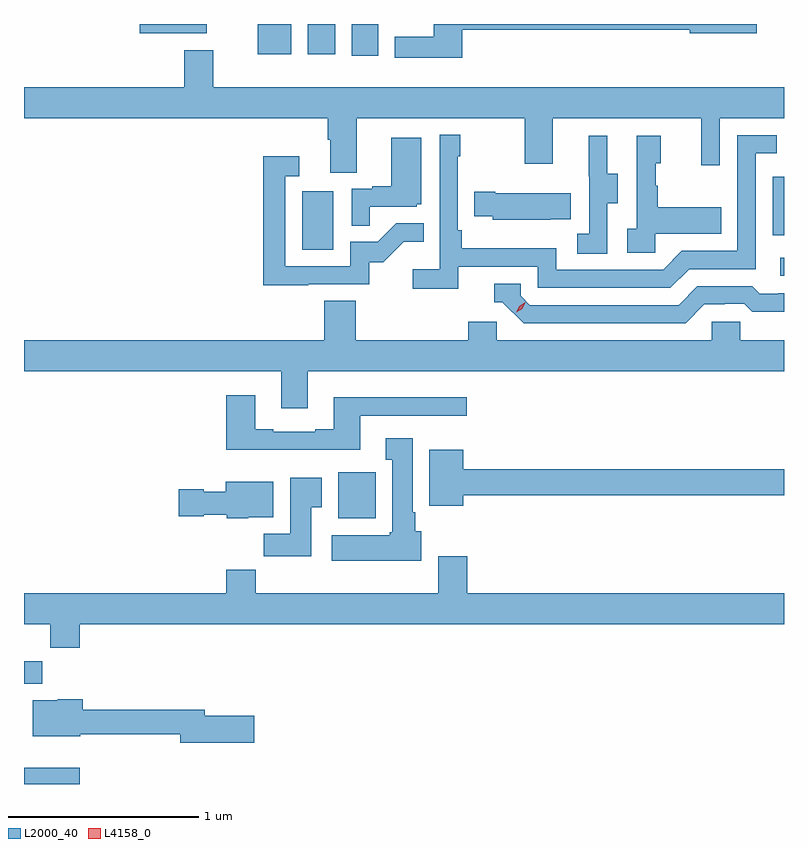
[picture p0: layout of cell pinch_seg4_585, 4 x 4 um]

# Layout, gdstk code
import gdstk
lib = gdstk.Library(unit=1e-6, precision=1e-09)
def R(c, l, rs):  # rectangles x0, y0, x1, y1
    for r in rs: c.add(gdstk.rectangle(r[:2], r[2:], *l))
def P(c, l, *ps):  # polygons
    for p in ps: c.add(gdstk.Polygon(p, *l))
L2000_40 = (2000, 40)
L4158_0 = (4158, 0)

pinch_seg4_585 = lib.new_cell('pinch_seg4_585')
R(pinch_seg4_585, L2000_40, [(1033.874,768.008,1034.168,768.094), (1033.874,768.536,1033.97,768.655), (1035.527,769.406,1035.724,769.648), (1037.853,770.682,1037.874,770.778), (1035.338,770.82,1035.502,771.127), (1037.814,770.895,1037.874,771.204), (1035.599,771.84,1035.739,772.008), (1035.104,771.848,1035.28,772.008), (1035.368,771.848,1035.511,772.008), (1034.484,771.959,1034.836,772.008)])
P(pinch_seg4_585, L2000_40, [(1036.18,771.978),(1037.378,771.978),(1037.378,771.959),(1037.731,771.959),(1037.731,772.008),(1036.03,772.008),(1036.03,771.94),(1035.825,771.94),(1035.825,771.83),(1036.18,771.83)],
  [(1035.625,771.512),(1036.51,771.512),(1036.51,771.273),(1036.657,771.273),(1036.657,771.512),(1037.438,771.512),(1037.438,771.264),(1037.535,771.264),(1037.535,771.512),(1037.874,771.512),(1037.874,771.676),(1034.869,771.676),(1034.869,771.871),(1034.717,771.871),(1034.717,771.676),(1033.874,771.676),(1033.874,771.512),(1035.473,771.512),(1035.473,771.4),(1035.485,771.4),(1035.485,771.226),(1035.625,771.226)],
  [(1036.16,770.73),(1036.578,770.73),(1036.578,770.619),(1037.275,770.619),(1037.374,770.718),(1037.724,770.718),(1037.724,771.327),(1037.837,771.327),(1037.837,771.423),(1037.628,771.423),(1037.628,770.814),(1037.337,770.814),(1037.238,770.715),(1036.674,770.715),(1036.674,770.827),(1036.178,770.827),(1036.178,770.923),(1036.158,770.923),(1036.158,771.311),(1036.171,771.311),(1036.171,771.424),(1036.062,771.424),(1036.062,770.716),(1035.921,770.716),(1035.921,770.614),(1036.16,770.614)],
  [(1037.196,770.903),(1037.543,770.903),(1037.543,771.043),(1037.209,771.043),(1037.209,771.158),(1037.199,771.158),(1037.199,771.276),(1037.224,771.276),(1037.224,771.421),(1037.1,771.421),(1037.1,770.93),(1037.049,770.93),(1037.049,770.805),(1037.196,770.805)],
  [(1036.944,771.064),(1036.999,771.064),(1036.999,771.219),(1036.945,771.219),(1036.945,771.421),(1036.847,771.421),(1036.847,771.207),(1036.848,771.207),(1036.848,770.903),(1036.785,770.903),(1036.785,770.8),(1036.944,770.8)],
  [(1035.695,771.045),(1035.942,771.045),(1035.942,771.06),(1035.964,771.06),(1035.964,771.409),(1035.806,771.409),(1035.806,771.154),(1035.707,771.154),(1035.707,771.141),(1035.6,771.141),(1035.6,770.947),(1035.695,770.947)],
  [(1035.371,770.637),(1035.69,770.637),(1035.69,770.754),(1035.766,770.754),(1035.873,770.861),(1035.977,770.861),(1035.977,770.96),(1035.833,770.96),(1035.735,770.862),(1035.591,770.862),(1035.591,770.733),(1035.249,770.733),(1035.249,771.207),(1035.322,771.207),(1035.322,771.313),(1035.133,771.313),(1035.133,770.632),(1035.371,770.632)],
  [(1036.643,770.981),(1036.751,770.981),(1036.751,771.118),(1036.354,771.118),(1036.354,771.126),(1036.243,771.126),(1036.243,770.996),(1036.341,770.996),(1036.341,770.978),(1036.643,770.978)],
  [(1037.455,770.532),(1037.562,770.532),(1037.562,770.535),(1037.665,770.535),(1037.707,770.493),(1037.874,770.493),(1037.874,770.592),(1037.845,770.592),(1037.845,770.589),(1037.746,770.589),(1037.707,770.628),(1037.418,770.628),(1037.319,770.529),(1036.536,770.529),(1036.488,770.577),(1036.488,770.64),(1036.349,770.64),(1036.349,770.544),(1036.392,770.544),(1036.503,770.433),(1037.356,770.433)],
  [(1035.367,770.18),(1037.874,770.18),(1037.874,770.344),(1037.643,770.344),(1037.643,770.442),(1037.493,770.442),(1037.493,770.344),(1036.362,770.344),(1036.362,770.442),(1036.211,770.442),(1036.211,770.344),(1035.62,770.344),(1035.62,770.552),(1035.455,770.552),(1035.455,770.344),(1033.874,770.344),(1033.874,770.18),(1035.227,770.18),(1035.227,769.986),(1035.367,769.986)],
  [(1035.643,769.947),(1036.204,769.947),(1036.204,770.044),(1035.503,770.044),(1035.503,769.876),(1035.407,769.876),(1035.407,769.863),(1035.187,769.863),(1035.187,769.876),(1035.091,769.876),(1035.091,770.053),(1034.939,770.053),(1034.939,769.766),(1035.643,769.766)],
  [(1035.964,769.338),(1035.934,769.338),(1035.934,769.438),(1035.919,769.438),(1035.919,769.828),(1035.779,769.828),(1035.779,769.715),(1035.812,769.715),(1035.812,769.332),(1035.799,769.332),(1035.799,769.318),(1035.495,769.318),(1035.495,769.184),(1035.964,769.184)],
  [(1036.186,769.528),(1037.874,769.528),(1037.874,769.664),(1036.186,769.664),(1036.186,769.768),(1036.007,769.768),(1036.007,769.472),(1036.186,769.472)],
  [(1035.385,769.465),(1035.442,769.465),(1035.442,769.621),(1035.275,769.621),(1035.275,769.324),(1035.136,769.324),(1035.136,769.206),(1035.385,769.206)],
  [(1035.054,769.412),(1035.187,769.412),(1035.187,769.6),(1034.936,769.6),(1034.936,769.546),(1034.82,769.546),(1034.82,769.559),(1034.688,769.559),(1034.688,769.417),(1034.82,769.417),(1034.82,769.424),(1034.94,769.424),(1034.94,769.406),(1035.054,769.406)],
  [(1034.168,768.848),(1037.874,768.848),(1037.874,769.012),(1036.208,769.012),(1036.208,769.207),(1036.055,769.207),(1036.055,769.012),(1035.095,769.012),(1035.095,769.136),(1034.939,769.136),(1034.939,769.012),(1033.874,769.012),(1033.874,768.848),(1034.011,768.848),(1034.011,768.724),(1034.168,768.724)],
  [(1035.085,768.366),(1034.824,768.366),(1034.824,768.4),(1034.183,768.4),(1034.183,768.454),(1034.052,768.454),(1034.052,768.448),(1033.919,768.448),(1033.919,768.26),(1034.17,768.26),(1034.17,768.271),(1034.696,768.271),(1034.696,768.224),(1035.085,768.224)])
P(pinch_seg4_585, L4158_0, [(1036.466,770.49),(1036.466,770.491),(1036.481,770.523),(1036.512,770.543),(1036.512,770.543),(1036.512,770.543),(1036.496,770.51),(1036.466,770.49)])

lib.write_gds('pinch_seg4_585.gds')
